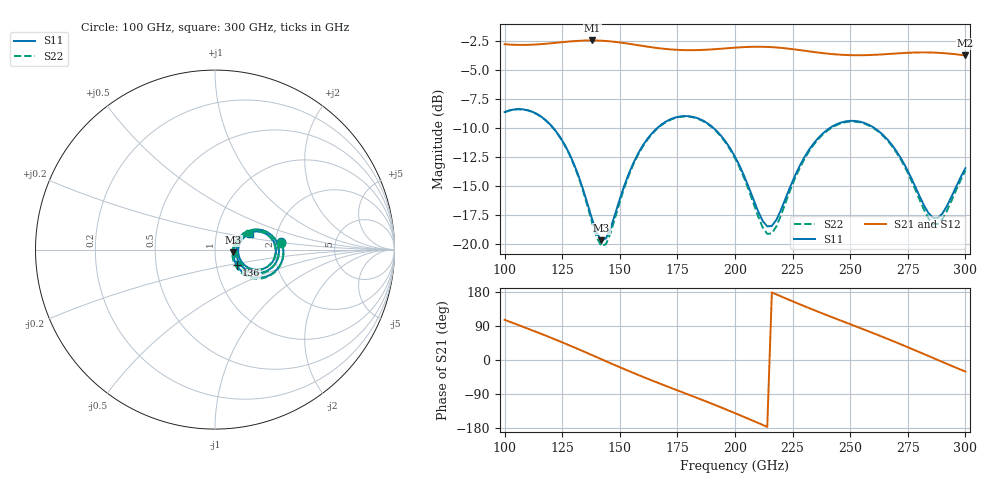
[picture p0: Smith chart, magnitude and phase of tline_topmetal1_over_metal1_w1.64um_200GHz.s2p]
#  GHZ S DB R 50
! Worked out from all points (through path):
!   101 points, 100 GHz to 300 GHz, reference 50 ohm
!   highest |S21| = -2.45 dB at 138 GHz (marker M1); lowest = -3.7 dB at 300 GHz (marker M2)
!   group delay of S21, straight-line fit = 6.9 ps
!   lowest |S11| = -19.7 dB at 142 GHz (marker M3), VSWR 1.23, Z = 61.4 - j1.98 ohm
!   |S11| at or under -10 dB: 121.2 GHz to 166.2 GHz (45 GHz wide, 31.3 % of centre); 190.7 GHz to 241.1 GHz (50.34 GHz wide, 23.3 % of centre); 260.6 GHz to end of sweep
!   |S22| runs from -20.2 to -8.4 dB; largest |S21 - S12| = 8.6e-14
!   S11 on the Smith chart (normalised r, x): 100 GHz: 2.15, +0.21; 136 GHz: 1.25, -0.22; 300 GHz: 1.45, +0.27
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100  -8.62 6.7  -2.77 106.1  -2.77 106.1  -8.63 6.1
118  -9.34 -23.8  -2.73 63.9  -2.73 63.9  -9.36 -24.9
126  -11.40 -35.2  -2.58 44.1  -2.58 44.1  -11.44 -36.7
134  -15.23 -38.7  -2.46 23.3  -2.46 23.3  -15.37 -40.8
136  -16.52 -36.0  -2.45 18.0  -2.45 18.0  -16.72 -38.3
138  -17.85 -30.5  -2.45 12.7  -2.45 12.7  -18.14 -32.8
142  -19.66 -8.8  -2.47 2.1  -2.47 2.1  -20.16 -10.1
146  -18.60 15.7  -2.53 -8.5  -2.53 -8.5  -19.01 16.3
154  -13.87 29.3  -2.74 -29.3  -2.74 -29.3  -14.01 29.9
168  -9.70 13.9  -3.14 -63.6  -3.14 -63.6  -9.75 13.7
184  -9.16 -11.3  -3.28 -101.2  -3.28 -101.2  -9.20 -12.2
200  -12.46 -31.8  -3.07 -140.2  -3.07 -140.2  -12.58 -33.6
212  -17.98 -16.8  -3.00 -171.3  -3.00 -171.3  -18.53 -18.8
216  -18.42 2.6  -3.03 178.2  -3.03 178.2  -19.06 2.7
224  -15.03 25.3  -3.17 157.5  -3.17 157.5  -15.32 26.8
234  -11.35 21.5  -3.44 132.5  -3.44 132.5  -11.46 22.3
252  -9.38 -3.4  -3.72 89.8  -3.72 89.8  -9.43 -3.5
268  -11.41 -24.7  -3.60 51.4  -3.60 51.4  -11.50 -25.6
278  -14.93 -27.1  -3.49 26.1  -3.49 26.1  -15.16 -28.7
286  -17.72 -6.3  -3.49 5.3  -3.49 5.3  -18.23 -6.9
290  -17.35 9.7  -3.53 -5.0  -3.53 -5.0  -17.84 10.6
300  -13.44 24.5  -3.74 -30.6  -3.74 -30.6  -13.64 25.9
